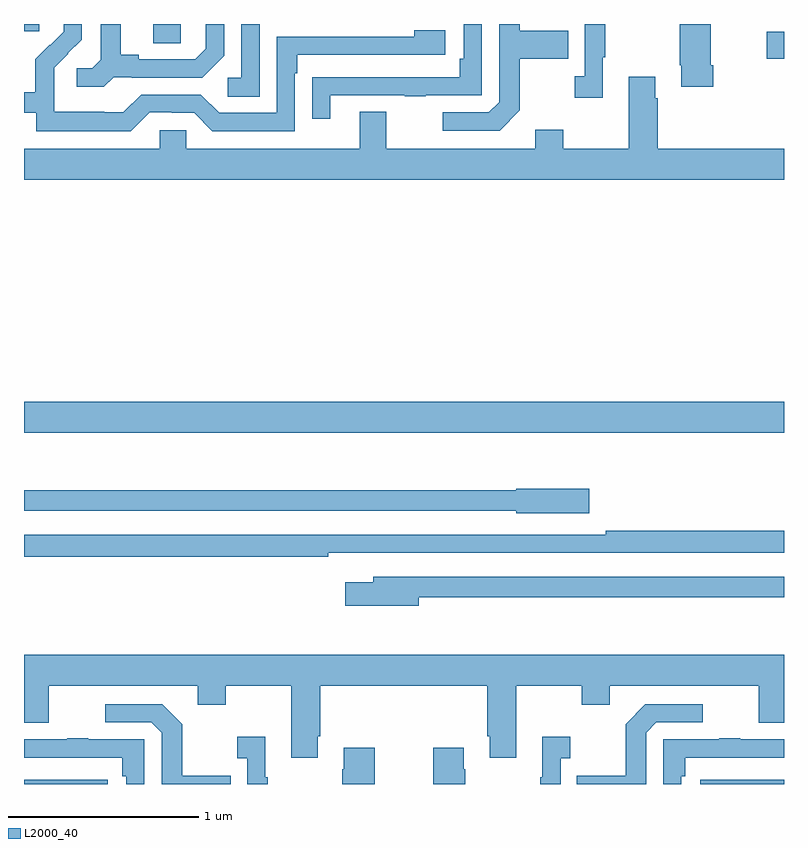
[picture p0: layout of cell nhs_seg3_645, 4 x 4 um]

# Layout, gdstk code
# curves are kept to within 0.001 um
import gdstk
lib = gdstk.Library(unit=1e-6, precision=1e-09)
def R(c, l, rs):  # rectangles x0, y0, x1, y1
    for r in rs: c.add(gdstk.rectangle(r[:2], r[2:], *l))
def P(c, l, *ps):  # polygons
    for p in ps: c.add(gdstk.Polygon(p, *l))
L2000_40 = (2000, 40)

nhs_seg3_645 = lib.new_cell('nhs_seg3_645')
R(nhs_seg3_645, L2000_40, [(143,700.4,143.44,700.422), (146.559,700.4,147,700.422), (143,702.248,147,702.412), (146.91,704.218,147,704.36), (143.681,704.299,143.826,704.4), (143,704.361,143.08,704.4)])
P(nhs_seg3_645, L2000_40, [(145.609,703.945),(145.609,704.218),(145.865,704.218),(145.865,704.365),(145.609,704.365),(145.609,704.4),(145.5,704.4),(145.5,703.989),(145.446,703.935),(145.203,703.935),(145.203,703.839),(145.503,703.839)],
  [(144.613,704.025),(145.003,704.025),(145.003,704.02),(145.115,704.02),(145.115,704.025),(145.41,704.025),(145.41,704.4),(145.314,704.4),(145.314,704.218),(145.294,704.218),(145.294,704.121),(144.619,704.121),(144.619,704.12),(144.517,704.12),(144.517,703.902),(144.613,703.902)],
  [(146.627,704.182),(146.614,704.182),(146.614,704.4),(146.452,704.4),(146.452,704.182),(146.459,704.182),(146.459,704.07),(146.627,704.07)],
  [(144.24,704.4),(144.144,704.4),(144.144,704.118),(144.072,704.118),(144.072,704.017),(144.24,704.017)],
  [(146.047,704.225),(146.059,704.225),(146.059,704.4),(145.95,704.4),(145.95,704.126),(145.899,704.126),(145.899,704.013),(146.047,704.013)],
  [(143.661,703.935),(143.777,703.935),(143.777,703.932),(143.895,703.932),(143.991,703.836),(144.426,703.836),(144.426,704.141),(144.439,704.141),(144.439,704.238),(145.216,704.238),(145.216,704.368),(145.055,704.368),(145.055,704.334),(144.33,704.334),(144.33,703.932),(144.027,703.932),(143.931,704.028),(143.616,704.028),(143.523,703.935),(143.423,703.935),(143.423,703.939),(143.16,703.939),(143.16,704.073),(143.158,704.073),(143.158,704.17),(143.304,704.318),(143.304,704.4),(143.21,704.4),(143.21,704.36),(143.139,704.289),(143.136,704.292),(143.059,704.215),(143.059,704.041),(143,704.041),(143,703.932),(143.064,703.932),(143.064,703.835),(143.561,703.835)],
  [(143.472,704.121),(143.566,704.121),(143.566,704.118),(143.938,704.118),(144.054,704.234),(144.054,704.4),(143.957,704.4),(143.957,704.271),(143.9,704.214),(143.605,704.214),(143.605,704.237),(143.509,704.237),(143.509,704.4),(143.405,704.4),(143.405,704.213),(143.358,704.166),(143.277,704.166),(143.277,704.069),(143.42,704.069)],
  [(147,703.744),(146.336,703.744),(146.336,704.009),(146.323,704.009),(146.323,704.122),(146.183,704.122),(146.183,703.744),(145.839,703.744),(145.839,703.843),(145.691,703.843),(145.691,703.744),(144.907,703.744),(144.907,703.939),(144.767,703.939),(144.767,703.744),(143.853,703.744),(143.853,703.842),(143.715,703.842),(143.715,703.744),(143,703.744),(143,703.58),(147,703.58)],
  [(145.975,701.955),(145.59,701.955),(145.59,701.947),(143,701.947),(143,701.838),(145.59,701.838),(145.59,701.825),(145.975,701.825)],
  [(144.602,701.616),(147,701.616),(147,701.732),(146.062,701.732),(146.062,701.712),(143,701.712),(143,701.596),(144.602,701.596)],
  [(145.078,701.382),(147,701.382),(147,701.49),(144.839,701.49),(144.839,701.461),(144.69,701.461),(144.69,701.339),(145.078,701.339)],
  [(144.547,700.651),(144.56,700.651),(144.56,700.916),(145.439,700.916),(145.439,700.651),(145.451,700.651),(145.451,700.539),(145.591,700.539),(145.591,700.916),(145.936,700.916),(145.936,700.817),(146.083,700.817),(146.083,700.916),(146.867,700.916),(146.867,700.722),(147,700.722),(147,701.08),(143,701.08),(143,700.722),(143.131,700.722),(143.131,700.916),(143.915,700.916),(143.915,700.817),(144.063,700.817),(144.063,700.916),(144.407,700.916),(144.407,700.539),(144.547,700.539)],
  [(144.089,700.443),(143.833,700.443),(143.833,700.715),(143.727,700.821),(143.427,700.821),(143.427,700.725),(143.67,700.725),(143.724,700.671),(143.724,700.4),(144.089,700.4)],
  [(146.274,700.671),(146.328,700.725),(146.572,700.725),(146.572,700.821),(146.271,700.821),(146.166,700.715),(146.166,700.443),(145.909,700.443),(145.909,700.4),(146.274,700.4)],
  [(144.283,700.435),(144.271,700.435),(144.271,700.648),(144.123,700.648),(144.123,700.535),(144.174,700.535),(144.174,700.4),(144.283,700.4)],
  [(145.824,700.535),(145.876,700.535),(145.876,700.648),(145.727,700.648),(145.727,700.435),(145.716,700.435),(145.716,700.4),(145.824,700.4)],
  [(146.46,700.442),(146.48,700.442),(146.48,700.539),(147,700.539),(147,700.635),(146.771,700.635),(146.771,700.64),(146.659,700.64),(146.659,700.635),(146.364,700.635),(146.364,700.4),(146.46,700.4)],
  [(143.634,700.635),(143.339,700.635),(143.339,700.64),(143.227,700.64),(143.227,700.635),(143,700.635),(143,700.539),(143.518,700.539),(143.518,700.442),(143.538,700.442),(143.538,700.4),(143.634,700.4)],
  [(144.846,700.591),(144.683,700.591),(144.683,700.478),(144.676,700.478),(144.676,700.4),(144.846,700.4)],
  [(145.323,700.478),(145.315,700.478),(145.315,700.591),(145.153,700.591),(145.153,700.4),(145.323,700.4)])

lib.write_gds('nhs_seg3_645.gds')
